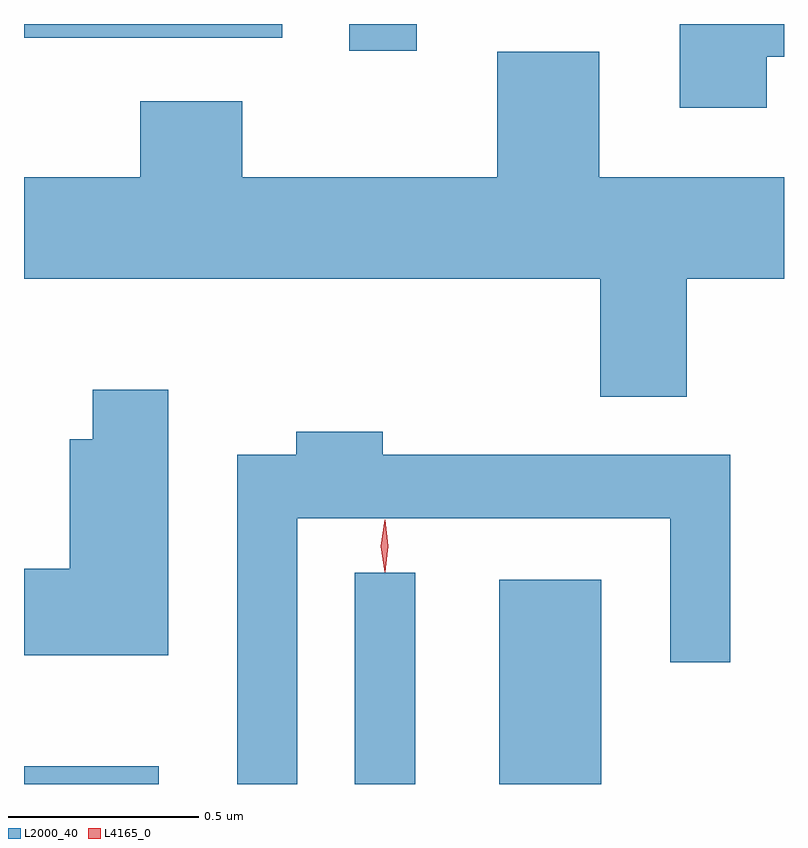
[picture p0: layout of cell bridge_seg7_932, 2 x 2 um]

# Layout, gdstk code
import gdstk
lib = gdstk.Library(unit=1e-6, precision=1e-09)
def R(c, l, rs):  # rectangles x0, y0, x1, y1
    for r in rs: c.add(gdstk.rectangle(r[:2], r[2:], *l))
def P(c, l, *ps):  # polygons
    for p in ps: c.add(gdstk.Polygon(p, *l))
L2000_40 = (2000, 40)
L4165_0 = (4165, 0)

bridge_seg7_932 = lib.new_cell('bridge_seg7_932')
R(bridge_seg7_932, L2000_40, [(480.405,1670.807,480.759,1670.854), (481.276,1670.807,481.434,1671.363), (481.656,1670.807,481.924,1671.344), (481.261,1672.736,481.439,1672.807), (480.405,1672.771,481.084,1672.807)])
P(bridge_seg7_932, L2000_40, [(482.359,1672.721),(482.405,1672.721),(482.405,1672.807),(482.131,1672.807),(482.131,1672.586),(482.359,1672.586)],
  [(482.149,1672.136),(482.405,1672.136),(482.405,1672.404),(481.919,1672.404),(481.919,1672.734),(481.651,1672.734),(481.651,1672.404),(480.979,1672.404),(480.979,1672.604),(480.711,1672.604),(480.711,1672.404),(480.405,1672.404),(480.405,1672.136),(481.921,1672.136),(481.921,1671.826),(482.149,1671.826)],
  [(480.784,1671.844),(480.586,1671.844),(480.586,1671.714),(480.526,1671.714),(480.526,1671.374),(480.405,1671.374),(480.405,1671.146),(480.784,1671.146)],
  [(481.124,1671.506),(482.106,1671.506),(482.106,1671.128),(482.264,1671.128),(482.264,1671.674),(481.349,1671.674),(481.349,1671.734),(481.121,1671.734),(481.121,1671.674),(480.966,1671.674),(480.966,1670.807),(481.124,1670.807)])
P(bridge_seg7_932, L4165_0, [(481.354,1671.364),(481.354,1671.364),(481.344,1671.433),(481.354,1671.502),(481.354,1671.503),(481.355,1671.502),(481.364,1671.433),(481.355,1671.364)])

lib.write_gds('bridge_seg7_932.gds')
